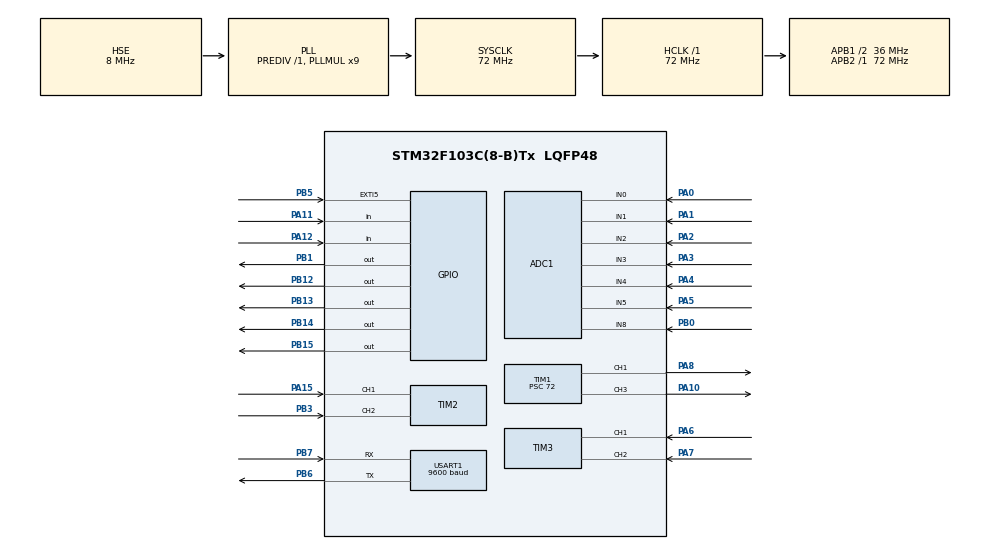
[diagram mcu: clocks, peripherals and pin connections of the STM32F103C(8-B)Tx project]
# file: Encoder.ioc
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ADC1.Channel-0\#ChannelRegularConversion=ADC_CHANNEL_0
ADC1.Channel-1\#ChannelRegularConversion=ADC_CHANNEL_1
ADC1.Channel-2\#ChannelRegularConversion=ADC_CHANNEL_2
ADC1.Channel-3\#ChannelRegularConversion=ADC_CHANNEL_3
ADC1.Channel-4\#ChannelRegularConversion=ADC_CHANNEL_4
ADC1.Channel-5\#ChannelRegularConversion=ADC_CHANNEL_5
ADC1.Channel-6\#ChannelRegularConversion=ADC_CHANNEL_8
ADC1.ContinuousConvMode=ENABLE
ADC1.NbrOfConversion=7
ADC1.NbrOfConversionFlag=1
ADC1.Rank-0\#ChannelRegularConversion=1
ADC1.Rank-1\#ChannelRegularConversion=2
ADC1.Rank-2\#ChannelRegularConversion=3
ADC1.Rank-3\#ChannelRegularConversion=4
ADC1.Rank-4\#ChannelRegularConversion=5
ADC1.Rank-5\#ChannelRegularConversion=6
ADC1.Rank-6\#ChannelRegularConversion=7
ADC1.SamplingTime-0\#ChannelRegularConversion=ADC_SAMPLETIME_239CYCLES_5
ADC1.SamplingTime-1\#ChannelRegularConversion=ADC_SAMPLETIME_239CYCLES_5
ADC1.SamplingTime-2\#ChannelRegularConversion=ADC_SAMPLETIME_239CYCLES_5
ADC1.SamplingTime-3\#ChannelRegularConversion=ADC_SAMPLETIME_239CYCLES_5
ADC1.SamplingTime-4\#ChannelRegularConversion=ADC_SAMPLETIME_239CYCLES_5
ADC1.SamplingTime-5\#ChannelRegularConversion=ADC_SAMPLETIME_239CYCLES_5
ADC1.SamplingTime-6\#ChannelRegularConversion=ADC_SAMPLETIME_239CYCLES_5
ADC1.master=1
Dma.ADC1.0.Direction=DMA_PERIPH_TO_MEMORY
Dma.ADC1.0.Instance=DMA1_Channel1
Dma.ADC1.0.MemDataAlignment=DMA_MDATAALIGN_HALFWORD
Dma.ADC1.0.MemInc=DMA_MINC_ENABLE
Dma.ADC1.0.Mode=DMA_CIRCULAR
Dma.ADC1.0.PeriphDataAlignment=DMA_PDATAALIGN_HALFWORD
Dma.ADC1.0.PeriphInc=DMA_PINC_DISABLE
Dma.ADC1.0.Priority=DMA_PRIORITY_LOW
Dma.Request0=ADC1
Mcu.Family=STM32F1
Mcu.Name=STM32F103C(8-B)Tx
Mcu.Package=LQFP48
NVIC.DMA1_Channel1_IRQn=true\:0\:0\:false\:false\:true\:false\:true\:true
NVIC.EXTI9_5_IRQn=true\:1\:0\:true\:false\:true\:true\:true\:true
NVIC.PriorityGroup=NVIC_PRIORITYGROUP_4
NVIC.USART1_IRQn=true\:0\:0\:false\:false\:true\:true\:true\:true
PA0-WKUP.Signal=ADCx_IN0
PA1.Signal=ADCx_IN1
PA10.Signal=S_TIM1_CH3
PA11.Signal=GPIO_Input
PA12.Signal=GPIO_Input
PA13.Mode=Serial_Wire
PA13.Signal=SYS_JTMS-SWDIO
PA14.Mode=Serial_Wire
PA14.Signal=SYS_JTCK-SWCLK
PA15.GPIO_PuPd=GPIO_NOPULL
PA15.Signal=S_TIM2_CH1_ETR
PA2.Signal=ADCx_IN2
PA3.Signal=ADCx_IN3
PA4.Signal=ADCx_IN4
PA5.Signal=ADCx_IN5
PA6.Signal=S_TIM3_CH1
PA7.Signal=S_TIM3_CH2
PA8.Signal=S_TIM1_CH1
PB0.Signal=ADCx_IN8
PB1.GPIO_PuPd=GPIO_NOPULL
PB1.Signal=GPIO_Output
PB12.GPIO_PuPd=GPIO_PULLDOWN
PB12.Signal=GPIO_Output
PB13.GPIO_PuPd=GPIO_PULLDOWN
PB13.Signal=GPIO_Output
PB14.GPIO_PuPd=GPIO_PULLDOWN
PB14.Signal=GPIO_Output
PB15.GPIO_PuPd=GPIO_PULLDOWN
PB15.Signal=GPIO_Output
PB3.GPIO_PuPd=GPIO_NOPULL
PB3.Signal=S_TIM2_CH2
PB5.GPIO_ModeDefaultEXTI=GPIO_MODE_IT_RISING_FALLING
PB5.GPIO_PuPd=GPIO_NOPULL
PB5.Signal=GPXTI5
PB6.Mode=Asynchronous
PB6.Signal=USART1_TX
PB7.Mode=Asynchronous
PB7.Signal=USART1_RX
PD0-OSC_IN.Mode=HSE-External-Oscillator
PD0-OSC_IN.Signal=RCC_OSC_IN
PD1-OSC_OUT.Mode=HSE-External-Oscillator
PD1-OSC_OUT.Signal=RCC_OSC_OUT
ProjectManager.HeapSize=0x200
ProjectManager.StackSize=0x400
ProjectManager.TargetToolchain=MDK-ARM V5
RCC.ADCPresc=RCC_ADCPCLK2_DIV6
RCC.AHBFreq_Value=72000000
RCC.APB1CLKDivider=RCC_HCLK_DIV2
RCC.APB1Freq_Value=36000000
RCC.APB1TimFreq_Value=72000000
RCC.APB2Freq_Value=72000000
RCC.APB2TimFreq_Value=72000000
RCC.HCLKFreq_Value=72000000
RCC.PLLMUL=RCC_PLL_MUL9
RCC.PLLSourceVirtual=RCC_PLLSOURCE_HSE
RCC.SYSCLKFreq_VALUE=72000000
RCC.SYSCLKSource=RCC_SYSCLKSOURCE_PLLCLK
RCC.USBFreq_Value=72000000
SH.ADCx_IN0.0=ADC1_IN0,IN0
SH.ADCx_IN1.0=ADC1_IN1,IN1
SH.ADCx_IN2.0=ADC1_IN2,IN2
SH.ADCx_IN3.0=ADC1_IN3,IN3
SH.ADCx_IN4.0=ADC1_IN4,IN4
SH.ADCx_IN5.0=ADC1_IN5,IN5
SH.ADCx_IN8.0=ADC1_IN8,IN8
SH.S_TIM1_CH1.0=TIM1_CH1,PWM Generation1 CH1
SH.S_TIM1_CH3.0=TIM1_CH3,PWM Generation3 CH3
SH.S_TIM2_CH1_ETR.0=TIM2_CH1,Encoder_Interface
SH.S_TIM2_CH2.0=TIM2_CH2,Encoder_Interface
SH.S_TIM3_CH1.0=TIM3_CH1,Encoder_Interface
SH.S_TIM3_CH2.0=TIM3_CH2,Encoder_Interface
TIM1.AutoReloadPreload=TIM_AUTORELOAD_PRELOAD_ENABLE
TIM1.Channel-PWM\ Generation1\ CH1=TIM_CHANNEL_1
TIM1.Channel-PWM\ Generation3\ CH3=TIM_CHANNEL_3
TIM1.Period=100
TIM1.Prescaler=72
TIM2.EncoderMode=TIM_ENCODERMODE_TI12
TIM3.EncoderMode=TIM_ENCODERMODE_TI12
TIM4.Prescaler=71
USART1.BaudRate=9600
USART1.VirtualMode=VM_ASYNC
VP_TIM1_VS_ClockSourceINT.Mode=Internal
VP_TIM4_VS_ClockSourceINT.Mode=Internal
board=custom

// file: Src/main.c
/* USER CODE BEGIN Header */
/**
  ******************************************************************************
  * @file           : main.c
  * @brief          : Main program body
  ******************************************************************************
  * @attention
  *
  * Copyright (c) 2022 STMicroelectronics.
  * All rights reserved.
  *
  * This software is licensed under terms that can be found in the LICENSE file
  * in the root directory of this software component.
  * If no LICENSE file comes with this software, it is provided AS-IS.
  *
  ******************************************************************************
  */
/* USER CODE END Header */
#include "main.h"

/* USER CODE BEGIN Includes */
#include "math.h"
/* USER CODE END Includes */

 ADC_HandleTypeDef hadc1;
DMA_HandleTypeDef hdma_adc1;

TIM_HandleTypeDef htim1;
TIM_HandleTypeDef htim2;
TIM_HandleTypeDef htim3;
TIM_HandleTypeDef htim4;

UART_HandleTypeDef huart1;

/* USER CODE BEGIN PV */
//void HAL_TIM_OC_DelayElapsedCallback(TIM_HandleTypeDef *htim){
//	if(htim ->Instance == TIM1)
//	{
//		count = __HAL_TIM_GetCounter(&htim2);
//		__HAL_TIM_SetCounter(&htim2, 0);
//	}
//}
int count = 0;
uint16_t u16_ADCSensor[7];
uint16_t val1 = 0;	// Counter value when ultrasonic generates wave
uint16_t val2 = 0;	// Counter value when sensor receive echo wave
uint16_t dis = 0;		// Raw distance
float e1 = 0.05;
float T_s=0.05;
float kp_r=0.6, ki_r=8, kd_r=0.0027, pwm_r=0.0;
float kp_f=0.05, ki_f=0.1, kd_f=0.0027;
double error_r=0,sumError_r=0,rateError_r=0,lastError_r=0,speed_r=0,count_r=0;
float kp_l=0.633, ki_l=9.4, kd_l=0.0046, pwm_l=0.0;
double error_l=0,sumError_l=0,rateError_l=0,lastError_l=0,speed_l=0,count_l=0;
float kp_gr=0.2, ki_gr=0.1, kd_gr=0.0027,pwm_gr=0.0;
double error_gr=0,sumError_gr=0,rateError_gr=0,lastError_gr=0,angler=0,count_gr=0;
float kp_gl=0.2, ki_gl=0.1, kd_gl=0.0027,pwm_gl=0.0;
double error_gl=0,sumError_gl=0,rateError_gl=0,lastError_gl=0,anglel=0,count_gl=0;
float nume2=0.0, dene2=0.0, e2=0.0, nume3=0.0,e3=0.0,e2pre=0.0;
float k_x=0.05,k_y=0.01,k_theta=0.01;
//float v_max = 0.5, w_max=10;
float v_max = 0.3, w_max=10;
float vwl=0.0, vwr=0.0;
float angl=0.0, angr=0.0;
float b=0.035, r=0.0425, pi=3.14;
unsigned long currentTime_r, previousTime_r;
double elapsedTime_r ;
unsigned long currentTime_l, previousTime_l;
double elapsedTime_l ;
unsigned long currentTime_gr, previousTime_gr;
double elapsedTime_gr ;
unsigned long currentTime_gl, previousTime_gl;
double elapsedTime_gl ;
unsigned long currentTime, previousTime;
double elapsedTime ;
//uint16_t check_line;
double v_r=0.0,w_r=0,v_c=0,w_c=0;
double set_vwl=0.0,set_vwr=0;
float k=100;
int state=0;
char TxBuff[20];
char RxBuff[20];
uint8_t RxData;
uint8_t rxindex;
uint16_t start;
/* USER CODE END PV */

void SystemClock_Config(void);
static void MX_GPIO_Init(void);
static void MX_TIM1_Init(void);
static void MX_TIM2_Init(void);
static void MX_DMA_Init(void);
static void MX_TIM3_Init(void);
static void MX_ADC1_Init(void);
static void MX_TIM4_Init(void);
static void MX_USART1_UART_Init(void);
/* USER CODE BEGIN PFP */
uint16_t u16_ADCSensor[7];;
/* USER CODE END PFP */

/* USER CODE BEGIN 0 */
// UART
void HAL_UART_RxCpltCallback(UART_HandleTypeDef *huart)
{
UNUSED(huart);
	if (huart->Instance == USART1){
	if(RxData != 13){
	RxBuff[rxindex++]=RxData;
	}
	else if(RxData == 13){
	rxindex=0;
	}
	else if (RxData == 49){
	start =1;
	}
	HAL_UART_Receive_IT(&huart1,&RxData,1);
	}
}
void print_data() {
	sprintf(TxBuff, "%s", "DATA, TIME, TIMER, DATE,");
	HAL_UART_Transmit(&huart1, (uint8_t *)TxBuff, strlen(TxBuff),1000);
	sprintf(TxBuff, "%f", e2);
	HAL_UART_Transmit(&huart1, (uint8_t *)TxBuff, strlen(TxBuff),1000);
	sprintf(TxBuff, "%s", ",");
	HAL_UART_Transmit(&huart1, (uint8_t *)TxBuff, strlen(TxBuff),1000);
	sprintf(TxBuff, "%f", e3);
	HAL_UART_Transmit(&huart1, (uint8_t *)TxBuff, strlen(TxBuff),1000);
	sprintf(TxBuff, "%s", ",\n");
	HAL_UART_Transmit(&huart1, (uint8_t *)TxBuff, strlen(TxBuff),1000);
//	sprintf(TxBuff, "%s", "e3:");
//	HAL_UART_Transmit(&huart1, (uint8_t *)TxBuff, strlen(TxBuff),1000);
//	sprintf(TxBuff, "%f", e3);
//	HAL_UART_Transmit(&huart1, (uint8_t *)TxBuff, strlen(TxBuff),1000);
//	sprintf(TxBuff, "%s", ";");
//	HAL_UART_Transmit(&huart1, (uint8_t *)TxBuff, strlen(TxBuff),1000);
//	sprintf(TxBuff, "%s", "vwr:");
//	HAL_UART_Transmit(&huart1, (uint8_t *)TxBuff, strlen(TxBuff),1000);
//	sprintf(TxBuff, "%f", set_vwr);
//	HAL_UART_Transmit(&huart1, (uint8_t *)TxBuff, strlen(TxBuff),1000);
//	sprintf(TxBuff, "%s", ";");
//	HAL_UART_Transmit(&huart1, (uint8_t *)TxBuff, strlen(TxBuff),1000);
//	sprintf(TxBuff, "%s", "vwl:");
//	HAL_UART_Transmit(&huart1, (uint8_t *)TxBuff, strlen(TxBuff),1000);
//	sprintf(TxBuff, "%f", set_vwl);
//	HAL_UART_Transmit(&huart1, (uint8_t *)TxBuff, strlen(TxBuff),1000);
 }
// Sieu am
void HAL_GPIO_EXTI_Callback(uint16_t GPIO_Pin){
	if (GPIO_Pin == GPIO_PIN_5){
		if (HAL_GPIO_ReadPin(GPIOB, GPIO_PIN_5) == 1){
			val1 = __HAL_TIM_GET_COUNTER(&htim4);
		}
		else if (HAL_GPIO_ReadPin(GPIOB, GPIO_PIN_5) == 0){
			val2 = __HAL_TIM_GET_COUNTER(&htim4);
		}
	}
}

void delay_us(uint32_t us){
	__HAL_TIM_SET_COUNTER(&htim4, 0);
	while (!(__HAL_TIM_GET_COUNTER(&htim4) < us));
}

void trig_hc04(){
	HAL_GPIO_WritePin(GPIOB, GPIO_PIN_1, 1);
	delay_us(10);
	HAL_GPIO_WritePin(GPIOB, GPIO_PIN_1, 0);
	__HAL_TIM_SET_COUNTER(&htim4, 0);
}

void read_hc04(){
	dis = (val2 - val1) * 0.034/2;
	}
int signnum_typical(double x) {
  if (x > 0.0) return 1;
  if (x < 0.0) return -1;
  return 0;
}

void motor(float set_vwr,float set_vwl){
	currentTime_r = HAL_GetTick();
				elapsedTime_r = (double)(currentTime_r - previousTime_r)/1000.0;
				count_r = __HAL_TIM_GET_COUNTER(&htim2);
				if (count_r>32767) count_r=count_r-65535;
//				__HAL_TIM_SET_COUNTER(&htim2, 0);
				speed_r = (float)(count_r) * 60000.0/ 374.0/4.0/30.0;
				error_r = vwr - speed_r;                                // determine error
        sumError_r += error_r * elapsedTime_r;                // compute integral
        rateError_r = (error_r - lastError_r)/elapsedTime_r;   // compute derivative
        pwm_r = kp_r*error_r + ki_r*sumError_r + kd_r*rateError_r;                //PID output
        lastError_r = error_r;
				__HAL_TIM_SET_COUNTER(&htim2, 0);
				previousTime_r = currentTime_r;
				if(pwm_r >100)
				pwm_r = 100;
				if(pwm_r <-100)
				pwm_r = -100;
				if(pwm_r>0)
				{
//					__HAL_TIM_SET_COMPARE(&htim1,TIM_CHANNEL_1,pwm);
					TIM1->CCR1 = (int)pwm_r;
					HAL_GPIO_WritePin(GPIOB, GPIO_PIN_12, 0);
					HAL_GPIO_WritePin(GPIOB, GPIO_PIN_13, 1);
				}
				else
				 {
//					__HAL_TIM_SET_COMPARE(&htim1,TIM_CHANNEL_1,fabs(pwm));
					 TIM1->CCR1 = (int)(-pwm_r);
					HAL_GPIO_WritePin(GPIOB, GPIO_PIN_12, 1);
					HAL_GPIO_WritePin(GPIOB, GPIO_PIN_13, 0);
				 }
				currentTime_l = HAL_GetTick();
				elapsedTime_l = (double)(currentTime_l - previousTime_l)/1000.0;
				count_l = __HAL_TIM_GET_COUNTER(&htim3);
				if (count_l>32767) count_l=count_l-65535;
//				__HAL_TIM_SET_COUNTER(&htim3, 0);
				speed_l = (float)(count_l) * 60000.0/ 374.0/4.0/30.0;
				error_l = vwl - speed_l;                                // determine error
        sumError_l += error_l * elapsedTime_l;                // compute integral
        rateError_l = (error_l - lastError_l)/elapsedTime_l;   // compute derivative
        pwm_l = kp_l*error_l + ki_l*sumError_l + kd_l*rateError_l;                //PID output
        lastError_l = error_l;
				__HAL_TIM_SET_COUNTER(&htim3, 0);
				previousTime_l = currentTime_l;
				if(pwm_l >100)
				pwm_l = 100;
				if(pwm_l <-100)
				pwm_l = -100;
				if(pwm_l>0)
				{
//					__HAL_TIM_SET_COMPARE(&htim1,TIM_CHANNEL_1,pwm);
					TIM1->CCR3 = (int)pwm_l;
					HAL_GPIO_WritePin(GPIOB, GPIO_PIN_14, 1);
					HAL_GPIO_WritePin(GPIOB, GPIO_PIN_15, 0);
				}
				else
				 {
//					__HAL_TIM_SET_COMPARE(&htim1,TIM_CHANNEL_1,fabs(pwm));
					 TIM1->CCR3 = (int)(-pwm_l);
					HAL_GPIO_WritePin(GPIOB, GPIO_PIN_14, 0);
					HAL_GPIO_WritePin(GPIOB, GPIO_PIN_15, 1);
				 }
				 HAL_Delay(29);
				 vwr=set_vwr;
				 vwl=set_vwl;
	}
void rotate(float set_angler,float set_anglel){
				currentTime_gr = HAL_GetTick();
				elapsedTime_gr = (double)(currentTime_gr - previousTime_gr)/1000.0;
				count_gr = __HAL_TIM_GET_COUNTER(&htim2);
				if (count_gr>32767) count_gr=count_gr-65535;
//				__HAL_TIM_SET_COUNTER(&htim3, 0);
				angler = (float)(count_gr) * 360/374.0/4.0;
				error_gr = angr - angler;                                // determine error
        sumError_gr += error_gr * elapsedTime_gr;                // compute integral
        rateError_gr = (error_gr - lastError_gr)/elapsedTime_gr;   // compute derivative
        pwm_gr = kp_gr*error_gr + ki_gr*sumError_gr + kd_gr*rateError_gr;                //PID output
        lastError_gr = error_gr;
//				__HAL_TIM_SET_COUNTER(&htim3, 0);
				previousTime_gr = currentTime_gr;
				if(pwm_gr >100)
				pwm_gr = 100;
				if(pwm_gr <-100)
				pwm_gr = -100;
				if(pwm_gr>0)
				{
//					__HAL_TIM_SET_COMPARE(&htim1,TIM_CHANNEL_1,pwm);
					TIM1->CCR1 = (int)pwm_gr;
					HAL_GPIO_WritePin(GPIOB, GPIO_PIN_12, 0);
					HAL_GPIO_WritePin(GPIOB, GPIO_PIN_13, 1);
				}
				else
				 {
//					__HAL_TIM_SET_COMPARE(&htim1,TIM_CHANNEL_1,fabs(pwm));
					 TIM1->CCR1 = (int)(-pwm_gr);
					HAL_GPIO_WritePin(GPIOB, GPIO_PIN_12, 1);
					HAL_GPIO_WritePin(GPIOB, GPIO_PIN_13, 0);
				 }
				 // PID motor left
				currentTime_gl = HAL_GetTick();
				elapsedTime_gl = (double)(currentTime_gl - previousTime_gl)/1000.0;
				count_gl = __HAL_TIM_GET_COUNTER(&htim3);
				if (count_gl>32767) count_gl=count_gl-65535;
//				__HAL_TIM_SET_COUNTER(&htim3, 0);
				anglel = (float)(count_gl) * 360/374.0/4.0;
				error_gl = angl - anglel;                                // determine error
        sumError_gl += error_gl * elapsedTime_gl;                // compute integral
        rateError_gl = (error_gl - lastError_gl)/elapsedTime_gl;   // compute derivative
        pwm_gl = kp_gl*error_gl + ki_gl*sumError_gl + kd_gl*rateError_gl;                //PID output
        lastError_gl = error_gl;
//				__HAL_TIM_SET_COUNTER(&htim3, 0);
				previousTime_gl = currentTime_gl;
				if(pwm_gl >100)
				pwm_gl = 100;
				if(pwm_gl <-100)
				pwm_gl = -100;
				if(pwm_gl>0)
				{
//					__HAL_TIM_SET_COMPARE(&htim1,TIM_CHANNEL_1,pwm);
					TIM1->CCR3 = (int)pwm_gl;
					HAL_GPIO_WritePin(GPIOB, GPIO_PIN_14, 1);
					HAL_GPIO_WritePin(GPIOB, GPIO_PIN_15, 0);
				}
				else
				 {
//					__HAL_TIM_SET_COMPARE(&htim1,TIM_CHANNEL_1,fabs(pwm));
					 TIM1->CCR3 = (int)(-pwm_gl);
					HAL_GPIO_WritePin(GPIOB, GPIO_PIN_14, 0);
					HAL_GPIO_WritePin(GPIOB, GPIO_PIN_15, 1);
				 }
				 HAL_Delay(49);
				 angr=set_angler;
				 angl=set_anglel;

	}

	// Di chuyen thang qua vat can
void forward(float set_angler,float set_anglel){
				//PID motor right
				currentTime_gr = HAL_GetTick();
				elapsedTime_gr = (double)(currentTime_gr - previousTime_gr)/1000.0;
				count_gr = __HAL_TIM_GET_COUNTER(&htim2);
				if (count_gr>32767) count_gr=count_gr-65535;
//				__HAL_TIM_SET_COUNTER(&htim3, 0);
				angler = (float)(count_gr) * 360/374.0/4.0;
				error_gr = angr - angler;                                // determine error
        sumError_gr += error_gr * elapsedTime_gr;                // compute integral
        rateError_gr = (error_gr - lastError_gr)/elapsedTime_gr;   // compute derivative
        pwm_gr = kp_f*error_gr + ki_f*sumError_gr + kd_f*rateError_gr;                //PID output
        lastError_gr = error_gr;
//				__HAL_TIM_SET_COUNTER(&htim3, 0);
				previousTime_gr = currentTime_gr;
				if(pwm_gr >100)
				pwm_gr = 100;
				if(pwm_gr <-100)
				pwm_gr = -100;
				if(pwm_gr>0)
				{
//					__HAL_TIM_SET_COMPARE(&htim1,TIM_CHANNEL_1,pwm);
					TIM1->CCR1 = (int)pwm_gr;
					HAL_GPIO_WritePin(GPIOB, GPIO_PIN_12, 0);
					HAL_GPIO_WritePin(GPIOB, GPIO_PIN_13, 1);
				}
				else
				 {
//					__HAL_TIM_SET_COMPARE(&htim1,TIM_CHANNEL_1,fabs(pwm));
					 TIM1->CCR1 = (int)(-pwm_gr);
					HAL_GPIO_WritePin(GPIOB, GPIO_PIN_12, 1);
					HAL_GPIO_WritePin(GPIOB, GPIO_PIN_13, 0);
				 }
				 // PID motor left
				currentTime_gl = HAL_GetTick();
				elapsedTime_gl = (double)(currentTime_gl - previousTime_gl)/1000.0;
				count_gl = __HAL_TIM_GET_COUNTER(&htim3);
				if (count_gl>32767) count_gl=count_gl-65535;
//				__HAL_TIM_SET_COUNTER(&htim3, 0);
				anglel = (float)(count_gl) * 360/374.0/4.0;
				error_gl = angl - anglel;                                // determine error
        sumError_gl += error_gl * elapsedTime_gl;                // compute integral
        rateError_gl = (error_gl - lastError_gl)/elapsedTime_gl;   // compute derivative
        pwm_gl = kp_f*error_gl + ki_f*sumError_gl + kd_f*rateError_gl;                //PID output
        lastError_gl = error_gl;
//				__HAL_TIM_SET_COUNTER(&htim3, 0);
				previousTime_gl = currentTime_gl;
				if(pwm_gl >100)
				pwm_gl = 100;
				if(pwm_gl <-100)
				pwm_gl = -100;
				if(pwm_gl>0)
				{
//					__HAL_TIM_SET_COMPARE(&htim1,TIM_CHANNEL_1,pwm);
					TIM1->CCR3 = (int)pwm_gl;
					HAL_GPIO_WritePin(GPIOB, GPIO_PIN_14, 1);
					HAL_GPIO_WritePin(GPIOB, GPIO_PIN_15, 0);
				}
				else
				 {
//					__HAL_TIM_SET_COMPARE(&htim1,TIM_CHANNEL_1,fabs(pwm));
					 TIM1->CCR3 = (int)(-pwm_gl);
					HAL_GPIO_WritePin(GPIOB, GPIO_PIN_14, 0);
					HAL_GPIO_WritePin(GPIOB, GPIO_PIN_15, 1);
				 }
				 HAL_Delay(49);
				 angr=set_angler;
				 angl=set_anglel;

	}

	// vong vat can
int vong_vat_can()
	{
		e2=0;
		e3=0;
		error_gl=0,sumError_gl=0,rateError_gl=0,lastError_gl=0,anglel=0,count_gl=0;
		error_gr=0,sumError_gr=0,rateError_gr=0,lastError_gr=0,angler=0,count_gr=0;
		angl=0.0, angr=0.0;
		for(int i=0; i<20;i++){
		rotate(140,-140);
		print_data();
		}
		__HAL_TIM_SET_COUNTER(&htim2, 0);
		__HAL_TIM_SET_COUNTER(&htim3, 0);
		angl=0.0, angr=0.0;
		error_gl=0,sumError_gl=0,rateError_gl=0,lastError_gl=0,anglel=0,count_gl=0;
		error_gr=0,sumError_gr=0,rateError_gr=0,lastError_gr=0,angler=0,count_gr=0;
		for(int j=0; j<20;j++){
		forward(800,800);
		print_data();
		}
		__HAL_TIM_SET_COUNTER(&htim2, 0);
		__HAL_TIM_SET_COUNTER(&htim3, 0);
		angl=0.0, angr=0.0;
		error_gl=0,sumError_gl=0,rateError_gl=0,lastError_gl=0,anglel=0,count_gl=0;
		error_gr=0,sumError_gr=0,rateError_gr=0,lastError_gr=0,angler=0,count_gr=0;
		for(int k=0; k<20;k++){
		rotate(-245,245);
		print_data();
		}
		__HAL_TIM_SET_COUNTER(&htim2, 0);
		__HAL_TIM_SET_COUNTER(&htim3, 0);
		for (int i=0; i<10; i++){
		error_r=0,sumError_r=0,rateError_r=0,lastError_r=0;
		error_l=0,sumError_l=0,rateError_l=0,lastError_l=0;
			motor(0,0);
			print_data();
			}
		error_r=0,sumError_r=0,rateError_r=0,lastError_r=0;
		error_l=0,sumError_l=0,rateError_l=0,lastError_l=0;
		while (1){
		trig_hc04();
		read_hc04();
		error_r=0,sumError_r=0,rateError_r=0,lastError_r=0;
		error_l=0,sumError_l=0,rateError_l=0,lastError_l=0;
			if (u16_ADCSensor[5]<500){
		error_r=0,sumError_r=0,rateError_r=0,lastError_r=0,pwm_r=0;
		error_l=0,sumError_l=0,rateError_l=0,lastError_l=0,pwm_l=0;
			motor(50,50);
			print_data();
				state=0;
		}
		else {
			angl=0.0, angr=0.0;
		error_gl=0,sumError_gl=0,rateError_gl=0,lastError_gl=0,anglel=0,count_gl=0;
		error_gr=0,sumError_gr=0,rateError_gr=0,lastError_gr=0,angler=0,count_gr=0;
			for(int i=0; i<20;i++){
		rotate(150,-150);
		print_data();
		}
			state=1;
		error_r=0,sumError_r=0,rateError_r=0,lastError_r=0;
		error_l=0,sumError_l=0,rateError_l=0,lastError_l=0;
			return 40;
		}
		}
	}
void tracking_line(){
				v_r = sqrt(e2*e2 + e1*e1)/T_s;
				w_r = atan2(e2, e1)/T_s;
				v_c = v_r*cos(e3) + k_x * e1;
				w_c = w_r + v_r * (k_y * e2 + k_theta * sin(e3))*k;
				if (fabs(w_c)> w_max){ w_c = w_max*signnum_typical(w_c);}
				if (fabs(v_c)> v_max){ v_c = v_max*signnum_typical(v_c);}
				set_vwl=((1/r)*(v_c-(b/2)*w_c))*(60/(2*pi));
				set_vwr=((1/r)*(v_c+(b/2)*w_c))*(60/(2*pi));
				}

/* USER CODE END 0 */

int main(void)
{

  /* MCU Configuration--------------------------------------------------------*/

  /* Reset of all peripherals, Initializes the Flash interface and the Systick. */
  HAL_Init();

  /* Configure the system clock */
  SystemClock_Config();

  /* Initialize all configured peripherals */
  MX_GPIO_Init();
  MX_TIM1_Init();
  MX_TIM2_Init();
  MX_DMA_Init();
  MX_TIM3_Init();
  MX_ADC1_Init();
  MX_TIM4_Init();
  MX_USART1_UART_Init();
  /* USER CODE BEGIN 2 */
	HAL_TIM_Base_Start(&htim4);
	HAL_TIM_PWM_Start(&htim1, TIM_CHANNEL_3);
//	HAL_TIM_OC_Start_IT(&htim1, TIM_CHANNEL_2);
	HAL_TIM_Encoder_Start(&htim2, TIM_CHANNEL_1 | TIM_CHANNEL_2);
	HAL_TIM_Encoder_Start(&htim3, TIM_CHANNEL_1 | TIM_CHANNEL_2);
	HAL_TIM_PWM_Start(&htim1, TIM_CHANNEL_1);
	HAL_ADC_Start_DMA(&hadc1, (uint32_t*)u16_ADCSensor,7);
	HAL_GPIO_WritePin(GPIOB, GPIO_PIN_12, 0);
	HAL_GPIO_WritePin(GPIOB, GPIO_PIN_13, 0);
	HAL_GPIO_WritePin(GPIOB, GPIO_PIN_14, 0);
	HAL_GPIO_WritePin(GPIOB, GPIO_PIN_15, 0);
	HAL_Delay(12000);
	int x=0,y=0;
	for (int i =0; i<20; i++){
	motor(50,50);
	}
	sprintf(TxBuff, "%s", "CLEARDATA\n");
	HAL_UART_Transmit(&huart1, (uint8_t *)TxBuff, strlen(TxBuff),1000);
	sprintf(TxBuff, "%s", "LABEL, Time, Started Time, Date, e2, e3,");
	HAL_UART_Transmit(&huart1, (uint8_t *)TxBuff, strlen(TxBuff),1000);
	sprintf(TxBuff, "%s", "RESETTIMER ");
	HAL_UART_Transmit(&huart1, (uint8_t *)TxBuff, strlen(TxBuff),1000);
  /* USER CODE END 2 */

  /* Infinite loop */
  while (1)
  {

    /* USER CODE BEGIN 3 */
// dem thoi gian lay mau
		currentTime= HAL_GetTick();
		elapsedTime = (double)(currentTime - previousTime);
		if (elapsedTime > 50){
// doc cam bien do line
		trig_hc04();
		read_hc04();
// kiem tra vat can
		if (dis<25){
				vong_vat_can();
//				if (dis <20){
//				error_r=0,sumError_r=0,rateError_r=0,lastError_r=0;
//				error_l=0,sumError_l=0,rateError_l=0,lastError_l=0;
////				for(int i=0; i<10; i++){
////				error_r=0,sumError_r=0,rateError_r=0,lastError_r=0;
////				error_l=0,sumError_l=0,rateError_l=0,lastError_l=0;
////				motor(-50,-50);
////				error_r=0,sumError_r=0,rateError_r=0,lastError_r=0;
////				error_l=0,sumError_l=0,rateError_l=0,lastError_l=0;
////				}
//				}
				error_r=0,sumError_r=0,rateError_r=0,lastError_r=0;
				error_l=0,sumError_l=0,rateError_l=0,lastError_l=0;
				set_vwl=0;
			  set_vwr=0;
				}
		else{
		if (state ==1){
		error_r=0,sumError_r=0,rateError_r=0,lastError_r=0;
		error_l=0,sumError_l=0,rateError_l=0,lastError_l=0;
		state=0;
		}
// doc cam bien do line
		nume2 = (3*(u16_ADCSensor[6]-u16_ADCSensor[0])+2*(u16_ADCSensor[5]-u16_ADCSensor[1])+(u16_ADCSensor[4]-u16_ADCSensor[2]));
		dene2 = u16_ADCSensor[5]+u16_ADCSensor[4]+u16_ADCSensor[3]+u16_ADCSensor[2]+u16_ADCSensor[1]+u16_ADCSensor[6]+u16_ADCSensor[0];
//			nume2 = (2*(u16_ADCSensor[5]-u16_ADCSensor[1])+(u16_ADCSensor[4]-u16_ADCSensor[2]));
//		dene2 = u16_ADCSensor[5]+u16_ADCSensor[4]+u16_ADCSensor[3]+u16_ADCSensor[2]+u16_ADCSensor[1];
		if (u16_ADCSensor[5]>500 && u16_ADCSensor[1]>500) {
			nume2 = (3*(u16_ADCSensor[6]-200)+2*(u16_ADCSensor[5]-200)+(u16_ADCSensor[4]-200));
		dene2 = u16_ADCSensor[5]+u16_ADCSensor[4]+u16_ADCSensor[3]+u16_ADCSensor[2]+200+200+200;
//	e2=0.04;
		}
		e2 = 0.0155*(nume2/dene2);

		nume3=e2pre-e2;
		e3=atan(nume3/v_c*T_s);
// phat hien nga 3
//		if (u16_ADCSensor[6]>500 && u16_ADCSensor[0]>500) {
//	e3=pi/3;
//		}
		e2pre=e2;
		tracking_line();
		}
		print_data();
		previousTime=currentTime;
//		error_r=0,sumError_r=0,rateError_r=0,lastError_r=0;
//		error_l=0,sumError_l=0,rateError_l=0,lastError_l=0;
}
// phat hien diem dung
		if (u16_ADCSensor[3]<500 && u16_ADCSensor[1] <500 && u16_ADCSensor[2]<500 && u16_ADCSensor[4]<500 && u16_ADCSensor[5]<500 &&u16_ADCSensor[0]<500 && u16_ADCSensor[6]<500){
		set_vwr=0;
		set_vwl=0;
		}
// dieu khien van toc 2 dong co
		motor(set_vwr,set_vwl);

}
  /* USER CODE END 3 */
}

void SystemClock_Config(void)
{
  RCC_OscInitTypeDef RCC_OscInitStruct = {0};
  RCC_ClkInitTypeDef RCC_ClkInitStruct = {0};
  RCC_PeriphCLKInitTypeDef PeriphClkInit = {0};

  /** Initializes the RCC Oscillators according to the specified parameters
  * in the RCC_OscInitTypeDef structure.
  */
  RCC_OscInitStruct.OscillatorType = RCC_OSCILLATORTYPE_HSE;
  RCC_OscInitStruct.HSEState = RCC_HSE_ON;
  RCC_OscInitStruct.HSEPredivValue = RCC_HSE_PREDIV_DIV1;
  RCC_OscInitStruct.HSIState = RCC_HSI_ON;
  RCC_OscInitStruct.PLL.PLLState = RCC_PLL_ON;
  RCC_OscInitStruct.PLL.PLLSource = RCC_PLLSOURCE_HSE;
  RCC_OscInitStruct.PLL.PLLMUL = RCC_PLL_MUL9;
  if (HAL_RCC_OscConfig(&RCC_OscInitStruct) != HAL_OK)
  {
    Error_Handler();
  }

  /** Initializes the CPU, AHB and APB buses clocks
  */
  RCC_ClkInitStruct.ClockType = RCC_CLOCKTYPE_HCLK|RCC_CLOCKTYPE_SYSCLK
                              |RCC_CLOCKTYPE_PCLK1|RCC_CLOCKTYPE_PCLK2;
  RCC_ClkInitStruct.SYSCLKSource = RCC_SYSCLKSOURCE_PLLCLK;
  RCC_ClkInitStruct.AHBCLKDivider = RCC_SYSCLK_DIV1;
  RCC_ClkInitStruct.APB1CLKDivider = RCC_HCLK_DIV2;
  RCC_ClkInitStruct.APB2CLKDivider = RCC_HCLK_DIV1;

  if (HAL_RCC_ClockConfig(&RCC_ClkInitStruct, FLASH_LATENCY_2) != HAL_OK)
  {
    Error_Handler();
  }
  PeriphClkInit.PeriphClockSelection = RCC_PERIPHCLK_ADC;
  PeriphClkInit.AdcClockSelection = RCC_ADCPCLK2_DIV6;
  if (HAL_RCCEx_PeriphCLKConfig(&PeriphClkInit) != HAL_OK)
  {
    Error_Handler();
  }
}

static void MX_ADC1_Init(void)
{

  ADC_ChannelConfTypeDef sConfig = {0};

  /** Common config
  */
  hadc1.Instance = ADC1;
  hadc1.Init.ScanConvMode = ADC_SCAN_ENABLE;
  hadc1.Init.ContinuousConvMode = ENABLE;
  hadc1.Init.DiscontinuousConvMode = DISABLE;
  hadc1.Init.ExternalTrigConv = ADC_SOFTWARE_START;
  hadc1.Init.DataAlign = ADC_DATAALIGN_RIGHT;
  hadc1.Init.NbrOfConversion = 7;
  if (HAL_ADC_Init(&hadc1) != HAL_OK)
  {
    Error_Handler();
  }

  /** Configure Regular Channel
  */
  sConfig.Channel = ADC_CHANNEL_0;
  sConfig.Rank = ADC_REGULAR_RANK_1;
  sConfig.SamplingTime = ADC_SAMPLETIME_239CYCLES_5;
  if (HAL_ADC_ConfigChannel(&hadc1, &sConfig) != HAL_OK)
  {
    Error_Handler();
  }

  /** Configure Regular Channel
  */
  sConfig.Channel = ADC_CHANNEL_1;
  sConfig.Rank = ADC_REGULAR_RANK_2;
  if (HAL_ADC_ConfigChannel(&hadc1, &sConfig) != HAL_OK)
  {
    Error_Handler();
  }

  /** Configure Regular Channel
  */
  sConfig.Channel = ADC_CHANNEL_2;
  sConfig.Rank = ADC_REGULAR_RANK_3;
  if (HAL_ADC_ConfigChannel(&hadc1, &sConfig) != HAL_OK)
  {
    Error_Handler();
  }

  /** Configure Regular Channel
  */
  sConfig.Channel = ADC_CHANNEL_3;
  sConfig.Rank = ADC_REGULAR_RANK_4;
  if (HAL_ADC_ConfigChannel(&hadc1, &sConfig) != HAL_OK)
  {
    Error_Handler();
  }

  /** Configure Regular Channel
  */
  sConfig.Channel = ADC_CHANNEL_4;
  sConfig.Rank = ADC_REGULAR_RANK_5;
  if (HAL_ADC_ConfigChannel(&hadc1, &sConfig) != HAL_OK)
  {
    Error_Handler();
  }

  /** Configure Regular Channel
  */
  sConfig.Channel = ADC_CHANNEL_5;
  sConfig.Rank = ADC_REGULAR_RANK_6;
  if (HAL_ADC_ConfigChannel(&hadc1, &sConfig) != HAL_OK)
  {
    Error_Handler();
  }

  /** Configure Regular Channel
  */
  sConfig.Channel = ADC_CHANNEL_8;
  sConfig.Rank = ADC_REGULAR_RANK_7;
  if (HAL_ADC_ConfigChannel(&hadc1, &sConfig) != HAL_OK)
  {
    Error_Handler();
  }

}

static void MX_TIM1_Init(void)
{

  TIM_ClockConfigTypeDef sClockSourceConfig = {0};
  TIM_MasterConfigTypeDef sMasterConfig = {0};
  TIM_OC_InitTypeDef sConfigOC = {0};
  TIM_BreakDeadTimeConfigTypeDef sBreakDeadTimeConfig = {0};

  htim1.Instance = TIM1;
  htim1.Init.Prescaler = 72;
  htim1.Init.CounterMode = TIM_COUNTERMODE_UP;
  htim1.Init.Period = 100;
  htim1.Init.ClockDivision = TIM_CLOCKDIVISION_DIV1;
  htim1.Init.RepetitionCounter = 0;
  htim1.Init.AutoReloadPreload = TIM_AUTORELOAD_PRELOAD_ENABLE;
  if (HAL_TIM_Base_Init(&htim1) != HAL_OK)
  {
    Error_Handler();
  }
  sClockSourceConfig.ClockSource = TIM_CLOCKSOURCE_INTERNAL;
  if (HAL_TIM_ConfigClockSource(&htim1, &sClockSourceConfig) != HAL_OK)
  {
    Error_Handler();
  }
  if (HAL_TIM_PWM_Init(&htim1) != HAL_OK)
  {
    Error_Handler();
  }
  sMasterConfig.MasterOutputTrigger = TIM_TRGO_RESET;
  sMasterConfig.MasterSlaveMode = TIM_MASTERSLAVEMODE_DISABLE;
  if (HAL_TIMEx_MasterConfigSynchronization(&htim1, &sMasterConfig) != HAL_OK)
  {
    Error_Handler();
  }
  sConfigOC.OCMode = TIM_OCMODE_PWM1;
  sConfigOC.Pulse = 0;
  sConfigOC.OCPolarity = TIM_OCPOLARITY_HIGH;
  sConfigOC.OCNPolarity = TIM_OCNPOLARITY_HIGH;
  sConfigOC.OCFastMode = TIM_OCFAST_DISABLE;
  sConfigOC.OCIdleState = TIM_OCIDLESTATE_RESET;
  sConfigOC.OCNIdleState = TIM_OCNIDLESTATE_RESET;
  if (HAL_TIM_PWM_ConfigChannel(&htim1, &sConfigOC, TIM_CHANNEL_1) != HAL_OK)
  {
    Error_Handler();
  }
  if (HAL_TIM_PWM_ConfigChannel(&htim1, &sConfigOC, TIM_CHANNEL_3) != HAL_OK)
  {
    Error_Handler();
  }
  sBreakDeadTimeConfig.OffStateRunMode = TIM_OSSR_DISABLE;
  sBreakDeadTimeConfig.OffStateIDLEMode = TIM_OSSI_DISABLE;
  sBreakDeadTimeConfig.LockLevel = TIM_LOCKLEVEL_OFF;
  sBreakDeadTimeConfig.DeadTime = 0;
  sBreakDeadTimeConfig.BreakState = TIM_BREAK_DISABLE;
  sBreakDeadTimeConfig.BreakPolarity = TIM_BREAKPOLARITY_HIGH;
  sBreakDeadTimeConfig.AutomaticOutput = TIM_AUTOMATICOUTPUT_DISABLE;
  if (HAL_TIMEx_ConfigBreakDeadTime(&htim1, &sBreakDeadTimeConfig) != HAL_OK)
  {
    Error_Handler();
  }
  HAL_TIM_MspPostInit(&htim1);

}

static void MX_TIM2_Init(void)
{

  TIM_Encoder_InitTypeDef sConfig = {0};
  TIM_MasterConfigTypeDef sMasterConfig = {0};

  htim2.Instance = TIM2;
  htim2.Init.Prescaler = 0;
  htim2.Init.CounterMode = TIM_COUNTERMODE_UP;
  htim2.Init.Period = 65535;
  htim2.Init.ClockDivision = TIM_CLOCKDIVISION_DIV1;
  htim2.Init.AutoReloadPreload = TIM_AUTORELOAD_PRELOAD_DISABLE;
  sConfig.EncoderMode = TIM_ENCODERMODE_TI12;
  sConfig.IC1Polarity = TIM_ICPOLARITY_RISING;
  sConfig.IC1Selection = TIM_ICSELECTION_DIRECTTI;
  sConfig.IC1Prescaler = TIM_ICPSC_DIV1;
  sConfig.IC1Filter = 0;
  sConfig.IC2Polarity = TIM_ICPOLARITY_RISING;
  sConfig.IC2Selection = TIM_ICSELECTION_DIRECTTI;
  sConfig.IC2Prescaler = TIM_ICPSC_DIV1;
  sConfig.IC2Filter = 0;
  if (HAL_TIM_Encoder_Init(&htim2, &sConfig) != HAL_OK)
  {
    Error_Handler();
  }
  sMasterConfig.MasterOutputTrigger = TIM_TRGO_RESET;
  sMasterConfig.MasterSlaveMode = TIM_MASTERSLAVEMODE_DISABLE;
  if (HAL_TIMEx_MasterConfigSynchronization(&htim2, &sMasterConfig) != HAL_OK)
  {
    Error_Handler();
  }

}

static void MX_TIM3_Init(void)
{

  TIM_Encoder_InitTypeDef sConfig = {0};
  TIM_MasterConfigTypeDef sMasterConfig = {0};

  htim3.Instance = TIM3;
  htim3.Init.Prescaler = 0;
  htim3.Init.CounterMode = TIM_COUNTERMODE_UP;
  htim3.Init.Period = 65535;
  htim3.Init.ClockDivision = TIM_CLOCKDIVISION_DIV1;
  htim3.Init.AutoReloadPreload = TIM_AUTORELOAD_PRELOAD_DISABLE;
  sConfig.EncoderMode = TIM_ENCODERMODE_TI12;
  sConfig.IC1Polarity = TIM_ICPOLARITY_RISING;
  sConfig.IC1Selection = TIM_ICSELECTION_DIRECTTI;
  sConfig.IC1Prescaler = TIM_ICPSC_DIV1;
  sConfig.IC1Filter = 0;
  sConfig.IC2Polarity = TIM_ICPOLARITY_RISING;
  sConfig.IC2Selection = TIM_ICSELECTION_DIRECTTI;
  sConfig.IC2Prescaler = TIM_ICPSC_DIV1;
  sConfig.IC2Filter = 0;
  if (HAL_TIM_Encoder_Init(&htim3, &sConfig) != HAL_OK)
  {
    Error_Handler();
  }
  sMasterConfig.MasterOutputTrigger = TIM_TRGO_RESET;
  sMasterConfig.MasterSlaveMode = TIM_MASTERSLAVEMODE_DISABLE;
  if (HAL_TIMEx_MasterConfigSynchronization(&htim3, &sMasterConfig) != HAL_OK)
  {
    Error_Handler();
  }

}

static void MX_TIM4_Init(void)
{

  TIM_ClockConfigTypeDef sClockSourceConfig = {0};
  TIM_MasterConfigTypeDef sMasterConfig = {0};

  htim4.Instance = TIM4;
  htim4.Init.Prescaler = 71;
  htim4.Init.CounterMode = TIM_COUNTERMODE_UP;
  htim4.Init.Period = 65535;
  htim4.Init.ClockDivision = TIM_CLOCKDIVISION_DIV1;
  htim4.Init.AutoReloadPreload = TIM_AUTORELOAD_PRELOAD_DISABLE;
  if (HAL_TIM_Base_Init(&htim4) != HAL_OK)
  {
    Error_Handler();
  }
  sClockSourceConfig.ClockSource = TIM_CLOCKSOURCE_INTERNAL;
  if (HAL_TIM_ConfigClockSource(&htim4, &sClockSourceConfig) != HAL_OK)
  {
    Error_Handler();
  }
  sMasterConfig.MasterOutputTrigger = TIM_TRGO_RESET;
  sMasterConfig.MasterSlaveMode = TIM_MASTERSLAVEMODE_DISABLE;
  if (HAL_TIMEx_MasterConfigSynchronization(&htim4, &sMasterConfig) != HAL_OK)
  {
    Error_Handler();
  }

}

static void MX_USART1_UART_Init(void)
{

  huart1.Instance = USART1;
  huart1.Init.BaudRate = 115200;
  huart1.Init.WordLength = UART_WORDLENGTH_8B;
  huart1.Init.StopBits = UART_STOPBITS_1;
  huart1.Init.Parity = UART_PARITY_NONE;
  huart1.Init.Mode = UART_MODE_TX_RX;
  huart1.Init.HwFlowCtl = UART_HWCONTROL_NONE;
  huart1.Init.OverSampling = UART_OVERSAMPLING_16;
  if (HAL_UART_Init(&huart1) != HAL_OK)
  {
    Error_Handler();
  }

}

static void MX_DMA_Init(void)
{

  /* DMA controller clock enable */
  __HAL_RCC_DMA1_CLK_ENABLE();

  /* DMA interrupt init */
  /* DMA1_Channel1_IRQn interrupt configuration */
  HAL_NVIC_SetPriority(DMA1_Channel1_IRQn, 0, 0);
  HAL_NVIC_EnableIRQ(DMA1_Channel1_IRQn);

}

static void MX_GPIO_Init(void)
{
  GPIO_InitTypeDef GPIO_InitStruct = {0};

  /* GPIO Ports Clock Enable */
  __HAL_RCC_GPIOD_CLK_ENABLE();
  __HAL_RCC_GPIOA_CLK_ENABLE();
  __HAL_RCC_GPIOB_CLK_ENABLE();

  /*Configure GPIO pin Output Level */
  HAL_GPIO_WritePin(GPIOB, GPIO_PIN_1|GPIO_PIN_12|GPIO_PIN_13|GPIO_PIN_14
                          |GPIO_PIN_15, GPIO_PIN_RESET);

  /*Configure GPIO pin : PB1 */
  GPIO_InitStruct.Pin = GPIO_PIN_1;
  GPIO_InitStruct.Mode = GPIO_MODE_OUTPUT_PP;
  GPIO_InitStruct.Pull = GPIO_NOPULL;
  GPIO_InitStruct.Speed = GPIO_SPEED_FREQ_LOW;
  HAL_GPIO_Init(GPIOB, &GPIO_InitStruct);

  /*Configure GPIO pins : PB12 PB13 PB14 PB15 */
  GPIO_InitStruct.Pin = GPIO_PIN_12|GPIO_PIN_13|GPIO_PIN_14|GPIO_PIN_15;
  GPIO_InitStruct.Mode = GPIO_MODE_OUTPUT_PP;
  GPIO_InitStruct.Pull = GPIO_PULLDOWN;
  GPIO_InitStruct.Speed = GPIO_SPEED_FREQ_LOW;
  HAL_GPIO_Init(GPIOB, &GPIO_InitStruct);

  /*Configure GPIO pins : PA11 PA12 */
  GPIO_InitStruct.Pin = GPIO_PIN_11|GPIO_PIN_12;
  GPIO_InitStruct.Mode = GPIO_MODE_INPUT;
  GPIO_InitStruct.Pull = GPIO_NOPULL;
  HAL_GPIO_Init(GPIOA, &GPIO_InitStruct);

  /*Configure GPIO pin : PB5 */
  GPIO_InitStruct.Pin = GPIO_PIN_5;
  GPIO_InitStruct.Mode = GPIO_MODE_IT_RISING_FALLING;
  GPIO_InitStruct.Pull = GPIO_NOPULL;
  HAL_GPIO_Init(GPIOB, &GPIO_InitStruct);

  /* EXTI interrupt init*/
  HAL_NVIC_SetPriority(EXTI9_5_IRQn, 1, 0);
  HAL_NVIC_EnableIRQ(EXTI9_5_IRQn);

}

void Error_Handler(void)
{
  __disable_irq();
  while (1)
  {
  }
}
